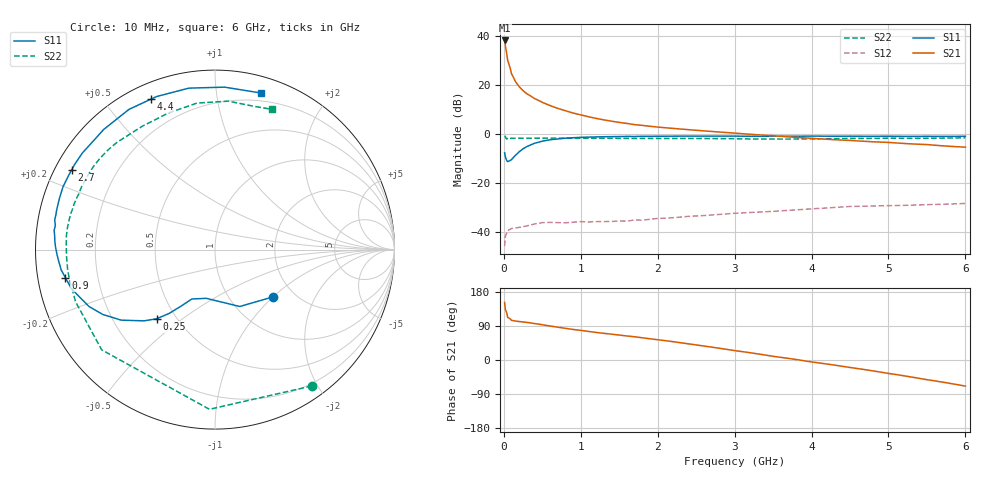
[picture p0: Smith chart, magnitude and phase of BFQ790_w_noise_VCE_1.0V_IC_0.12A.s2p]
! Infineon Technologies  Discrete & RF Semiconductors
! BFQ790
! VCE =  1.0 V,  IC = 0.12 A
! Common Emitter S-Parameters:  May 2015
# GHz  S  MA  R  50
!  f  S11  S21  S12  S22
! GHz  MAG  ANG  MAG  ANG  MAG  ANG  MAG  ANG
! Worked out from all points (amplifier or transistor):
!   77 points, 10 MHz to 6 GHz, reference 50 ohm
!   highest |S21| = 38.3 dB at 10 MHz (marker M1)
!   |S21| within 3 dB of that: start of sweep to 24.31 MHz
!   unconditionally stable (mu >= 1): 237.2 MHz to 445.4 MHz; 663.5 MHz to 742.9 MHz; 1.021 GHz to end of sweep (the widest 3 of 4)
!   at 130 MHz: K = 0.70, MSG = 30.6 dB, |S12| = -38.3 dB
!   at 2.2 GHz: K = 1.25, MAG = 15.2 dB, |S12| = -34.1 dB
!   at 6 GHz: K = 1.23, MAG = 8.6 dB, |S12| = -28.2 dB
!   lowest NFmin = 2.73 dB at 1.5 GHz
!   S11 on the Smith chart (normalised r, x): 10 MHz: 1.57, -1.00; 250 MHz: 0.39, -0.40; 900 MHz: 0.08, -0.09; 2.7 GHz: 0.05, +0.26; 4.4 GHz: 0.07, +0.66; 6 GHz: 0.13, +1.33
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0.01  0.4178 -39.0  81.88 151.6  0.0052 61.0  0.9321 -54.6
0.02  0.3458 -66.5  62.92 132.7  0.0083 44.7  0.8902 -92.0
0.05  0.2758 -100.2  31.8 112.2  0.0108 21.3  0.8429 -138.5
0.1  0.3039 -115.1  17.03 104.6  0.0119 14.4  0.8293 -159.4
0.15  0.3692 -121.1  11.88 102.7  0.0122 15.7  0.8275 -167.5
0.2  0.4393 -125.8  9.299 101.5  0.0126 16.6  0.8289 -171.9
0.25  0.5047 -130.2  7.745 100.4  0.013 17.2  0.8275 -174.8
0.3  0.5604 -134.9  6.678 99.2  0.0135 12.1  0.828 -177.1
0.4  0.6544 -143.1  5.346 96.1  0.0148 14.3  0.8289 179.3
0.5  0.7216 -149.9  4.468 93.0  0.0157 9.3  0.8299 176.8
0.6  0.7703 -155.7  3.853 89.8  0.0159 11.0  0.8315 174.6
0.7  0.8007 -160.9  3.367 86.6  0.0157 10.4  0.8315 172.5
0.9  0.8477 -169.3  2.709 80.6  0.016 7.4  0.8296 169.1
1.1  0.8735 -175.8  2.273 75.4  0.0162 7.2  0.8281 165.9
1.5  0.8966 175.1  1.743 65.8  0.017 8.2  0.8222 160.4
2.1  0.9105 163.7  1.355 51.0  0.0194 7.2  0.8201 151.4
2.7  0.9138 151.0  1.139 34.0  0.0225 2.3  0.8158 139.3
3.1  0.9111 141.8  1.025 22.1  0.0248 -2.3  0.8044 130.0
4.1  0.9133 119.4  0.806 -7.8  0.0307 -16.7  0.805 106.5
4.4  0.9111 113.0  0.759 -16.6  0.0328 -22.2  0.816 99.3
5.1  0.9069 96.7  0.664 -38.4  0.0351 -36.5  0.8278 82.9
6  0.909 73.7  0.545 -68.9  0.0387 -57.1  0.8441 67.7
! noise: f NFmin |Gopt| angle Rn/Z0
0.45  4.3  0.41  134  0.42
0.9  3.08  0.54  164  0.15
1.5  2.73  0.66  -174  0.08
1.8  2.83  0.68  -169  0.08
2.6  3.21  0.73  -152  0.21
3.5  3.79  0.83  -136  0.49
